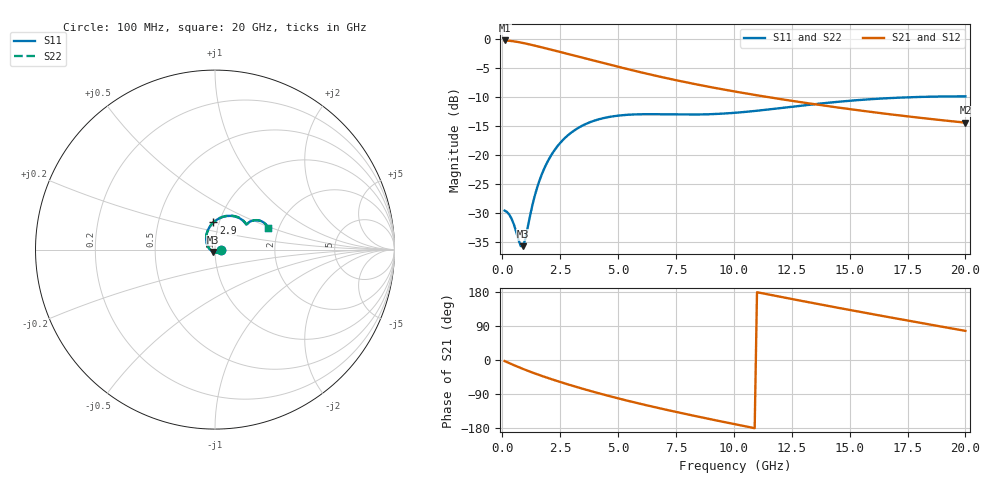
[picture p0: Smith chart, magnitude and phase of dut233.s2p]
! Touchstone file exported from HFSS 2023.1.0
!  File:  D:/Users/fzz/RDL_TSV/temp_RDL_TSV_233_1778758664.aedt
!  Generated:  7:51:11 %x4E0B%x5348  5%x6708 14, 2026
!  Design:  RDL_TSV
!  Project:  temp_RDL_TSV_233_1778758664
!  Setup:  Setup1
!  Solution:  Sweep
! Variables:
!  dtsv = 17.07um
!  hbump = 3um
!  htsv = 97.36um
!  ldown = 623.5um
!  lrdl = 423.53um
!  p = 40
!  p1 = 53.54um
!  rhole = 10um
!  subl = 3564.62um
!  t = 450um
!  tdown = 2.21um
!  trdl = 3.24um
!  viad = 10um
!  wdown = 10.9um
!  wrdl = 25.38um
!  xbump = 18um
# GHz S MA R 50.000000
! Terminal data exported
! Port[1] = TM1_1_T1
! Port[2] = TM1_4_T1
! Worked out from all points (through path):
!   200 points, 100 MHz to 20 GHz, reference 50 ohm
!   highest |S21| = -0.30 dB at 100 MHz (marker M1); lowest = -14.4 dB at 20 GHz (marker M2)
!   group delay of S21, straight-line fit = 36.9 ps
!   lowest |S11| = -35.7 dB at 900 MHz (marker M3), VSWR 1.03, Z = 49 - j1.3 ohm
!   |S11| at or under -10 dB: start of sweep to 18.23 GHz
!   |S22| runs from -35.7 to -9.9 dB; largest |S21 - S12| = 8.7e-15
!   S11 on the Smith chart (normalised r, x): 100 MHz: 1.07, -0.01; 2.9 GHz: 0.94, +0.29; 20 GHz: 1.75, +0.48
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0.1  0.03322 -6.9  0.9656 -2.8  0.9656 -2.8  0.03322 -6.9
! Gamma 0 0 0 0
! Port Impedance 50 0 50 0
0.4  0.02831 -32.0  0.9544 -10.9  0.9544 -10.9  0.02828 -32.0
0.8  0.01645 -98.1  0.9267 -21.2  0.9267 -21.2  0.01641 -98.4
0.9  0.01642 -126.3  0.9183 -23.7  0.9183 -23.7  0.01643 -126.7
1  0.0191 -152.3  0.9094 -26.1  0.9094 -26.1  0.01916 -152.6
1.2  0.03005 173.7  0.8909 -30.8  0.8909 -30.8  0.03022 173.5
1.4  0.04435 154.3  0.8718 -35.3  0.8718 -35.3  0.0446 154.2
1.7  0.06767 135.5  0.843 -41.9  0.843 -41.9  0.06804 135.5
2.2  0.1059 114.4  0.796 -52.1  0.796 -52.1  0.1065 114.4
2.9  0.1514 93.4  0.7339 -65.6  0.7339 -65.6  0.1522 93.5
3.5  0.1805 79.8  0.684 -76.4  0.684 -76.4  0.1816 79.9
4.3  0.2058 65.9  0.6225 -90.0  0.6225 -90.0  0.2072 65.9
5.1  0.2189 55.6  0.5673 -102.7  0.5673 -102.7  0.2204 55.6
5.9  0.2237 48.3  0.5187 -114.7  0.5187 -114.7  0.2254 48.3
6.8  0.2239 42.9  0.4715 -127.5  0.4715 -127.5  0.2257 42.9
8.3  0.2226 39.1  0.4078 -147.5  0.4078 -147.5  0.2244 39.0
10.1  0.2309 38.8  0.3496 -170.1  0.3496 -170.1  0.2324 38.6
11.8  0.2501 38.6  0.3071 169.3  0.3071 169.3  0.2512 38.4
13.4  0.2722 36.9  0.2747 150.5  0.2747 150.5  0.273 36.6
15  0.2924 33.8  0.2479 132.1  0.2479 132.1  0.293 33.6
16.7  0.3081 29.9  0.2243 113.0  0.2243 113.0  0.3085 29.8
20  0.3193 22.6  0.1897 76.9  0.1897 76.9  0.3193 22.6
